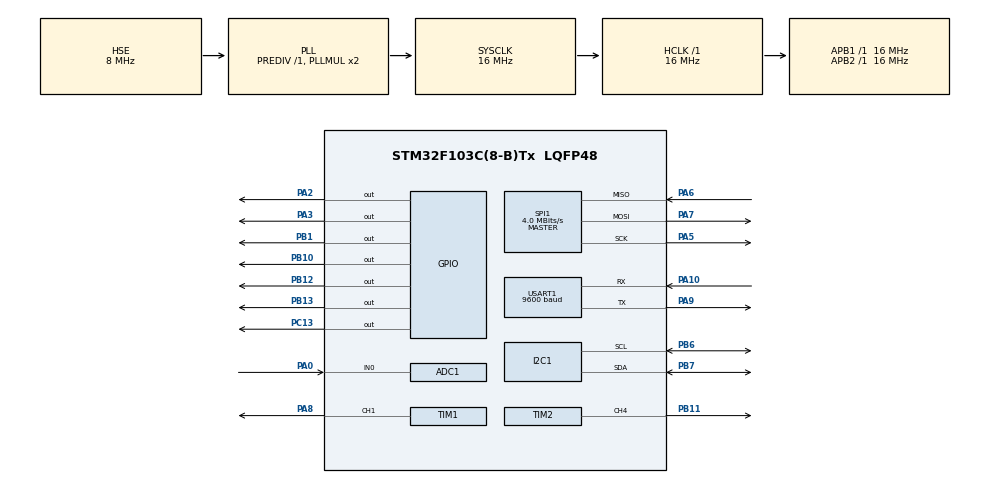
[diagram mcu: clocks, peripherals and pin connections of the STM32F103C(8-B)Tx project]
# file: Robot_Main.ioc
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ADC1.Channel-0\#ChannelRegularConversion=ADC_CHANNEL_0
ADC1.ContinuousConvMode=DISABLE
ADC1.NbrOfConversionFlag=1
ADC1.Rank-0\#ChannelRegularConversion=1
ADC1.SamplingTime-0\#ChannelRegularConversion=ADC_SAMPLETIME_7CYCLES_5
ADC1.master=1
Dma.ADC1.0.Direction=DMA_PERIPH_TO_MEMORY
Dma.ADC1.0.Instance=DMA1_Channel1
Dma.ADC1.0.MemDataAlignment=DMA_MDATAALIGN_HALFWORD
Dma.ADC1.0.MemInc=DMA_MINC_ENABLE
Dma.ADC1.0.Mode=DMA_CIRCULAR
Dma.ADC1.0.PeriphDataAlignment=DMA_PDATAALIGN_HALFWORD
Dma.ADC1.0.PeriphInc=DMA_PINC_DISABLE
Dma.ADC1.0.Priority=DMA_PRIORITY_LOW
Dma.Request0=ADC1
Mcu.Family=STM32F1
Mcu.Name=STM32F103C(8-B)Tx
Mcu.Package=LQFP48
NVIC.DMA1_Channel1_IRQn=true\:0\:0\:false\:false\:true\:false\:true\:true
NVIC.PriorityGroup=NVIC_PRIORITYGROUP_4
NVIC.USART1_IRQn=true\:0\:0\:false\:false\:true\:true\:true\:true
PA0-WKUP.Signal=ADCx_IN0
PA10.Mode=Asynchronous
PA10.Signal=USART1_RX
PA13.Mode=Serial_Wire
PA13.Signal=SYS_JTMS-SWDIO
PA14.Mode=Serial_Wire
PA14.Signal=SYS_JTCK-SWCLK
PA2.GPIO_Speed=GPIO_SPEED_FREQ_HIGH
PA2.Signal=GPIO_Output
PA3.GPIO_Speed=GPIO_SPEED_FREQ_HIGH
PA3.Signal=GPIO_Output
PA5.Mode=Full_Duplex_Master
PA5.Signal=SPI1_SCK
PA6.Mode=Full_Duplex_Master
PA6.Signal=SPI1_MISO
PA7.Mode=Full_Duplex_Master
PA7.Signal=SPI1_MOSI
PA8.Signal=S_TIM1_CH1
PA9.Mode=Asynchronous
PA9.Signal=USART1_TX
PB1.GPIO_Speed=GPIO_SPEED_FREQ_HIGH
PB1.Signal=GPIO_Output
PB10.GPIO_Speed=GPIO_SPEED_FREQ_HIGH
PB10.Signal=GPIO_Output
PB11.Signal=S_TIM2_CH4
PB12.GPIO_Speed=GPIO_SPEED_FREQ_HIGH
PB12.Signal=GPIO_Output
PB13.GPIO_Speed=GPIO_SPEED_FREQ_HIGH
PB13.Signal=GPIO_Output
PB6.Mode=I2C
PB6.Signal=I2C1_SCL
PB7.Mode=I2C
PB7.Signal=I2C1_SDA
PC13-TAMPER-RTC.GPIO_Speed=GPIO_SPEED_FREQ_HIGH
PC13-TAMPER-RTC.Signal=GPIO_Output
PD0-OSC_IN.Mode=HSE-External-Oscillator
PD0-OSC_IN.Signal=RCC_OSC_IN
PD1-OSC_OUT.Mode=HSE-External-Oscillator
PD1-OSC_OUT.Signal=RCC_OSC_OUT
ProjectManager.HeapSize=0x200
ProjectManager.StackSize=0x400
ProjectManager.TargetToolchain=STM32CubeIDE
RCC.AHBFreq_Value=16000000
RCC.APB1Freq_Value=16000000
RCC.APB1TimFreq_Value=16000000
RCC.APB2Freq_Value=16000000
RCC.APB2TimFreq_Value=16000000
RCC.HCLKFreq_Value=16000000
RCC.PLLSourceVirtual=RCC_PLLSOURCE_HSE
RCC.SYSCLKFreq_VALUE=16000000
RCC.SYSCLKSource=RCC_SYSCLKSOURCE_PLLCLK
RCC.USBFreq_Value=16000000
SH.ADCx_IN0.0=ADC1_IN0,IN0
SH.S_TIM1_CH1.0=TIM1_CH1,PWM Generation1 CH1
SH.S_TIM2_CH4.0=TIM2_CH4,PWM Generation4 CH4
SPI1.BaudRatePrescaler=SPI_BAUDRATEPRESCALER_4
SPI1.CalculateBaudRate=4.0 MBits/s
SPI1.Direction=SPI_DIRECTION_2LINES
SPI1.Mode=SPI_MODE_MASTER
SPI1.VirtualType=VM_MASTER
TIM1.Channel-PWM\ Generation1\ CH1=TIM_CHANNEL_1
TIM1.Period=99
TIM1.Prescaler=8000
TIM1.Pulse-PWM\ Generation1\ CH1=25
TIM2.Channel-PWM\ Generation4\ CH4=TIM_CHANNEL_4
TIM2.Period=99
TIM2.Prescaler=8000
TIM2.Pulse-PWM\ Generation4\ CH4=25
USART1.BaudRate=9600
USART1.VirtualMode=VM_ASYNC
board=custom

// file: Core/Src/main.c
/* USER CODE BEGIN Header */
/**
  ******************************************************************************
  * @file           : main.c
  * @brief          : Main program body
  ******************************************************************************
  * @attention
  *
  * Copyright (c) 2024 STMicroelectronics.
  * All rights reserved.
  *
  * This software is licensed under terms that can be found in the LICENSE file
  * in the root directory of this software component.
  * If no LICENSE file comes with this software, it is provided AS-IS.
  *
  ******************************************************************************
  */
/* USER CODE END Header */
#include "main.h"

/* USER CODE BEGIN Includes */
#include "stdint.h"
#include "String.h"
#include <stdio.h>
#include <math.h>

#include "NRF24L01.h"
#include "Motor_DC.h"
#include "CCS811.h"

#include "SSD1306.h"
#include "FONTS.h"
#include "LOGO.h"

#include "RingBuffer.h"
#include "GPS.h"

/* USER CODE END Includes */

ADC_HandleTypeDef hadc1;
DMA_HandleTypeDef hdma_adc1;

I2C_HandleTypeDef hi2c1;

SPI_HandleTypeDef hspi1;

TIM_HandleTypeDef htim1;
TIM_HandleTypeDef htim2;

UART_HandleTypeDef huart1;

void SystemClock_Config(void);
static void MX_GPIO_Init(void);
static void MX_DMA_Init(void);
static void MX_SPI1_Init(void);
static void MX_USART1_UART_Init(void);
static void MX_TIM1_Init(void);
static void MX_TIM2_Init(void);
static void MX_I2C1_Init(void);
static void MX_ADC1_Init(void);

/* USER CODE BEGIN 0 */
uint8_t RX_ADD[] = {0x01, 0xDD, 0xCC, 0xBB, 0xAA};
uint8_t RxData[32];
uint8_t Rx_Data_Mask[32];
uint8_t State_Stop[32]  = "Stop";
uint8_t State_Right[] = "Right";
uint8_t State_Left[]  = "Left";
uint8_t State_Up[]    = "Up";
uint8_t State_Down[]  = "Down";
uint8_t Data_UART[150];
char target1[80];
char target2[80];

int y=0, z=0;
uint32_t Data_H2S=0;
int dem_h2s=0;
uint16_t H2S_avr = 0;
unsigned int SUM_TVOC=0;
unsigned int SUM_CO2=0;
uint16_t h2s[3];
float CO2_avr=0, TVOC_avr= 0;

char GGA[100];
GPSSTRUCT gpsData;
int flagGPS = 0;
float convert_latitude = 0,convert_longitude =0 ;
char LCD_Buffer[40],LCD_Buffer1[40],LCD_Buffer2[40];

uint8_t data[1];

CCS811_Data Sensor_Val;
char co2_tr, co2_ch, co2_dv;
char apn[]="hieu.com";

Menu Titlelcd;

Menu Titlelcd = {
	"  SENSOR   VALUE",
	"CO2:",
	"TVOC:",
	"H2S:",
	"",
};
//float latitude_int=0, longitude_int=0;
//float latitude_float =0;
//float longitude_float = 0;

/* USER CODE END 0 */

int main(void)
{

  /* MCU Configuration--------------------------------------------------------*/

  /* Reset of all peripherals, Initializes the Flash interface and the Systick. */
  HAL_Init();

  /* Configure the system clock */
  SystemClock_Config();

  /* Initialize all configured peripherals */
  MX_GPIO_Init();
  MX_DMA_Init();
  MX_SPI1_Init();
  MX_USART1_UART_Init();
  MX_TIM1_Init();
  MX_TIM2_Init();
  MX_I2C1_Init();
  MX_ADC1_Init();
  /* USER CODE BEGIN 2 */
  HAL_TIM_PWM_Start(&htim1,TIM_CHANNEL_1);  //khoi tao xung PWM cho dong co
  HAL_TIM_PWM_Start(&htim2,TIM_CHANNEL_4);
  NRF24_Init();                             //khoi tao nRF
  NRF24_RxMode(RX_ADD, 10);                 // thiet lap che do nhan
  Ringbuf_init();
  CCS811_Init();                            // khoi tao cam bien
  ssd1306_Init();                           // khoi tao man hinh LCD
// Hien thi mot vai thong so
	HAL_Delay (2000);
	SSD1306_DrawBitmap(0,0,logo, 128, 64, 1);
	ssd1306_UpdateScreen();
	HAL_Delay (5000);
	ssd1306_Fill(Black);
	Menu_Display(Titlelcd);
	ssd1306_UpdateScreen();
    HAL_Delay(20);
  /* USER CODE END 2 */

  /* Infinite loop */
  while (1)
  {

    /* USER CODE BEGIN 3 */
	Ringbuf_init();
    // XỬ LÝ RF
	if(isDataAvailable(1)==1)
	{
		 NRF_Receive(RxData);
		 if(Rx_Data_Mask[0]!=RxData[0])
				{

					Rx_Data_Mask[0]=RxData[0];

					switch(Rx_Data_Mask[0])
					{
					  case 'R': //HAL_UART_Transmit(&huart1,State_Right,strlen((char*)State_Right),100);
						  	  HAL_GPIO_TogglePin(GPIOC, GPIO_PIN_13);
						  	  ROBOT_TurnRight();
						  break;
					  case 'L': //HAL_UART_Transmit(&huart1,State_Left,strlen((char*)State_Left),100);
								HAL_GPIO_TogglePin(GPIOC, GPIO_PIN_13);
								ROBOT_TurnLeft(); break;
					  case 'U': HAL_GPIO_TogglePin(GPIOC, GPIO_PIN_13);//HAL_UART_Transmit(&huart1,State_Up,strlen((char*)State_Up),100);
								ROBOT_Forward();break;
					  case 'D': HAL_GPIO_TogglePin(GPIOC, GPIO_PIN_13);////HAL_UART_Transmit(&huart1,State_Down,strlen((char*)State_Down),100);
								ROBOT_Backward();break;
					  case 'S': //HAL_UART_Transmit(&huart1,State_Stop,strlen((char*)State_Stop),100);
								ROBOT_Stop();
								 break;
					  //default:   HAL_GPIO_TogglePin(GPIOC, GPIO_PIN_13);
								// ROBOT_Stop();break;
					}
				}

	}
	// XỬ LÝ GPS
	 if(Wait_for("GGA")==1)
	 {
		 Copy_upto("*",GGA);
		 if(decodeGGA(GGA, &gpsData.ggastruct)==0)
		 {
			flagGPS = 1;
		 }
		 else
		 {
			 flagGPS=0;
		 }
	 }

	  if(CCS811_checkDataReady()==1)   // Kiem tra cam bien sang sang khong
	  {
		  unsigned int x = CCS811_getCO2PPM();    // Doc gia trị cam bien
		  unsigned int z = CCS811_getTVOCPPB();
		  if(y<8)
		  {
			  Sensor_Val.CO2  += x;
			  Sensor_Val.TVOC += z;
			  y++;
		  }
		  else
		  {

			  SUM_CO2  = Sensor_Val.CO2/8;
			  SUM_TVOC = Sensor_Val.TVOC/8;

			  Sensor_Val.CO2  = 0;
			  Sensor_Val.TVOC = 0;
			  y=0;
		  }
	  }
	  CCS811_writeBaseLine(0x447B);

	//DO CAM BIEN H2S
	HAL_ADC_Start_DMA(&hadc1, (uint32_t*)h2s, 1);
	HAL_Delay(2);
	HAL_ADC_Stop_DMA(&hadc1);
	uint16_t h2s_tam = h2s[0];
	if(dem_h2s<8)
	{
	Data_H2S +=h2s_tam;
	dem_h2s++;
	}
	else
	{
	H2S_avr  = Data_H2S/8;
	Data_H2S  = 0;
	dem_h2s=0;
	}

	// TRUYEN DU LIEU CHO ESP32
	sprintf(Data_UART,"{\"C\":%d,\"T\":%d,\"H\":%d,\"N\":%.6f,\"E\":%.6f}\n",SUM_CO2,SUM_TVOC,H2S_avr,gpsData.ggastruct.lcation.latitude,gpsData.ggastruct.lcation.longitude);
	HAL_UART_Transmit(&huart1, Data_UART, strlen((char *)Data_UART), 1000);

	// XUAT MAN HINH HIEN THI LCD

	if(flagGPS==1)
	 {
		sprintf(LCD_Buffer1,"%.4f%c,%.4f%c  ",gpsData.ggastruct.lcation.latitude,gpsData.ggastruct.lcation.NS,gpsData.ggastruct.lcation.longitude,gpsData.ggastruct.lcation.EW);
		//sprintf(LCD_Buffer1,"%.4fN,%.4fE  ",convert_latitude,convert_longitude);
		ssd1306_SetCursor(0, 48);
		ssd1306_WriteString(LCD_Buffer1, Font_7x10, White);
		//ssd1306_UpdateScreen();
	 }
	 else
	 {
		 ssd1306_SetCursor(0, 48);
		 ssd1306_WriteString("    GPS  Error      ",Font_7x10 , White);
	 }
	// Hien thi thong so ra LCD
	sprintf(LCD_Buffer2, "%d  ", H2S_avr);
	ssd1306_SetCursor(55, 36);
	ssd1306_WriteString(LCD_Buffer2, Font_7x10, White);
	//
	sprintf(target1, "%d%s  ", SUM_CO2,"ppm  "); //Sum_CO2
	sprintf(target2, "%d%s    ", SUM_TVOC,"ppb  ");
	ssd1306_SetCursor(55, 12);
	ssd1306_WriteString(target1,Font_7x10 , White);
	ssd1306_SetCursor(55, 24);
	ssd1306_WriteString(target2,Font_7x10 , White);
	ssd1306_UpdateScreen();
  }
  /* USER CODE END 3 */
}

void SystemClock_Config(void)
{
  RCC_OscInitTypeDef RCC_OscInitStruct = {0};
  RCC_ClkInitTypeDef RCC_ClkInitStruct = {0};
  RCC_PeriphCLKInitTypeDef PeriphClkInit = {0};

  /** Initializes the RCC Oscillators according to the specified parameters
  * in the RCC_OscInitTypeDef structure.
  */
  RCC_OscInitStruct.OscillatorType = RCC_OSCILLATORTYPE_HSE;
  RCC_OscInitStruct.HSEState = RCC_HSE_ON;
  RCC_OscInitStruct.HSEPredivValue = RCC_HSE_PREDIV_DIV1;
  RCC_OscInitStruct.HSIState = RCC_HSI_ON;
  RCC_OscInitStruct.PLL.PLLState = RCC_PLL_ON;
  RCC_OscInitStruct.PLL.PLLSource = RCC_PLLSOURCE_HSE;
  RCC_OscInitStruct.PLL.PLLMUL = RCC_PLL_MUL2;
  if (HAL_RCC_OscConfig(&RCC_OscInitStruct) != HAL_OK)
  {
    Error_Handler();
  }

  /** Initializes the CPU, AHB and APB buses clocks
  */
  RCC_ClkInitStruct.ClockType = RCC_CLOCKTYPE_HCLK|RCC_CLOCKTYPE_SYSCLK
                              |RCC_CLOCKTYPE_PCLK1|RCC_CLOCKTYPE_PCLK2;
  RCC_ClkInitStruct.SYSCLKSource = RCC_SYSCLKSOURCE_PLLCLK;
  RCC_ClkInitStruct.AHBCLKDivider = RCC_SYSCLK_DIV1;
  RCC_ClkInitStruct.APB1CLKDivider = RCC_HCLK_DIV1;
  RCC_ClkInitStruct.APB2CLKDivider = RCC_HCLK_DIV1;

  if (HAL_RCC_ClockConfig(&RCC_ClkInitStruct, FLASH_LATENCY_0) != HAL_OK)
  {
    Error_Handler();
  }
  PeriphClkInit.PeriphClockSelection = RCC_PERIPHCLK_ADC;
  PeriphClkInit.AdcClockSelection = RCC_ADCPCLK2_DIV2;
  if (HAL_RCCEx_PeriphCLKConfig(&PeriphClkInit) != HAL_OK)
  {
    Error_Handler();
  }
}

static void MX_ADC1_Init(void)
{

  ADC_ChannelConfTypeDef sConfig = {0};

  /** Common config
  */
  hadc1.Instance = ADC1;
  hadc1.Init.ScanConvMode = ADC_SCAN_DISABLE;
  hadc1.Init.ContinuousConvMode = DISABLE;
  hadc1.Init.DiscontinuousConvMode = DISABLE;
  hadc1.Init.ExternalTrigConv = ADC_SOFTWARE_START;
  hadc1.Init.DataAlign = ADC_DATAALIGN_RIGHT;
  hadc1.Init.NbrOfConversion = 1;
  if (HAL_ADC_Init(&hadc1) != HAL_OK)
  {
    Error_Handler();
  }

  /** Configure Regular Channel
  */
  sConfig.Channel = ADC_CHANNEL_0;
  sConfig.Rank = ADC_REGULAR_RANK_1;
  sConfig.SamplingTime = ADC_SAMPLETIME_7CYCLES_5;
  if (HAL_ADC_ConfigChannel(&hadc1, &sConfig) != HAL_OK)
  {
    Error_Handler();
  }

}

static void MX_I2C1_Init(void)
{

  hi2c1.Instance = I2C1;
  hi2c1.Init.ClockSpeed = 100000;
  hi2c1.Init.DutyCycle = I2C_DUTYCYCLE_2;
  hi2c1.Init.OwnAddress1 = 0;
  hi2c1.Init.AddressingMode = I2C_ADDRESSINGMODE_7BIT;
  hi2c1.Init.DualAddressMode = I2C_DUALADDRESS_DISABLE;
  hi2c1.Init.OwnAddress2 = 0;
  hi2c1.Init.GeneralCallMode = I2C_GENERALCALL_DISABLE;
  hi2c1.Init.NoStretchMode = I2C_NOSTRETCH_DISABLE;
  if (HAL_I2C_Init(&hi2c1) != HAL_OK)
  {
    Error_Handler();
  }

}

static void MX_SPI1_Init(void)
{

  /* SPI1 parameter configuration*/
  hspi1.Instance = SPI1;
  hspi1.Init.Mode = SPI_MODE_MASTER;
  hspi1.Init.Direction = SPI_DIRECTION_2LINES;
  hspi1.Init.DataSize = SPI_DATASIZE_8BIT;
  hspi1.Init.CLKPolarity = SPI_POLARITY_LOW;
  hspi1.Init.CLKPhase = SPI_PHASE_1EDGE;
  hspi1.Init.NSS = SPI_NSS_SOFT;
  hspi1.Init.BaudRatePrescaler = SPI_BAUDRATEPRESCALER_4;
  hspi1.Init.FirstBit = SPI_FIRSTBIT_MSB;
  hspi1.Init.TIMode = SPI_TIMODE_DISABLE;
  hspi1.Init.CRCCalculation = SPI_CRCCALCULATION_DISABLE;
  hspi1.Init.CRCPolynomial = 10;
  if (HAL_SPI_Init(&hspi1) != HAL_OK)
  {
    Error_Handler();
  }

}

static void MX_TIM1_Init(void)
{

  TIM_MasterConfigTypeDef sMasterConfig = {0};
  TIM_OC_InitTypeDef sConfigOC = {0};
  TIM_BreakDeadTimeConfigTypeDef sBreakDeadTimeConfig = {0};

  htim1.Instance = TIM1;
  htim1.Init.Prescaler = 8000;
  htim1.Init.CounterMode = TIM_COUNTERMODE_UP;
  htim1.Init.Period = 99;
  htim1.Init.ClockDivision = TIM_CLOCKDIVISION_DIV1;
  htim1.Init.RepetitionCounter = 0;
  htim1.Init.AutoReloadPreload = TIM_AUTORELOAD_PRELOAD_DISABLE;
  if (HAL_TIM_PWM_Init(&htim1) != HAL_OK)
  {
    Error_Handler();
  }
  sMasterConfig.MasterOutputTrigger = TIM_TRGO_RESET;
  sMasterConfig.MasterSlaveMode = TIM_MASTERSLAVEMODE_DISABLE;
  if (HAL_TIMEx_MasterConfigSynchronization(&htim1, &sMasterConfig) != HAL_OK)
  {
    Error_Handler();
  }
  sConfigOC.OCMode = TIM_OCMODE_PWM1;
  sConfigOC.Pulse = 25;
  sConfigOC.OCPolarity = TIM_OCPOLARITY_HIGH;
  sConfigOC.OCNPolarity = TIM_OCNPOLARITY_HIGH;
  sConfigOC.OCFastMode = TIM_OCFAST_DISABLE;
  sConfigOC.OCIdleState = TIM_OCIDLESTATE_RESET;
  sConfigOC.OCNIdleState = TIM_OCNIDLESTATE_RESET;
  if (HAL_TIM_PWM_ConfigChannel(&htim1, &sConfigOC, TIM_CHANNEL_1) != HAL_OK)
  {
    Error_Handler();
  }
  sBreakDeadTimeConfig.OffStateRunMode = TIM_OSSR_DISABLE;
  sBreakDeadTimeConfig.OffStateIDLEMode = TIM_OSSI_DISABLE;
  sBreakDeadTimeConfig.LockLevel = TIM_LOCKLEVEL_OFF;
  sBreakDeadTimeConfig.DeadTime = 0;
  sBreakDeadTimeConfig.BreakState = TIM_BREAK_DISABLE;
  sBreakDeadTimeConfig.BreakPolarity = TIM_BREAKPOLARITY_HIGH;
  sBreakDeadTimeConfig.AutomaticOutput = TIM_AUTOMATICOUTPUT_DISABLE;
  if (HAL_TIMEx_ConfigBreakDeadTime(&htim1, &sBreakDeadTimeConfig) != HAL_OK)
  {
    Error_Handler();
  }
  HAL_TIM_MspPostInit(&htim1);

}

static void MX_TIM2_Init(void)
{

  TIM_MasterConfigTypeDef sMasterConfig = {0};
  TIM_OC_InitTypeDef sConfigOC = {0};

  htim2.Instance = TIM2;
  htim2.Init.Prescaler = 8000;
  htim2.Init.CounterMode = TIM_COUNTERMODE_UP;
  htim2.Init.Period = 99;
  htim2.Init.ClockDivision = TIM_CLOCKDIVISION_DIV1;
  htim2.Init.AutoReloadPreload = TIM_AUTORELOAD_PRELOAD_DISABLE;
  if (HAL_TIM_PWM_Init(&htim2) != HAL_OK)
  {
    Error_Handler();
  }
  sMasterConfig.MasterOutputTrigger = TIM_TRGO_RESET;
  sMasterConfig.MasterSlaveMode = TIM_MASTERSLAVEMODE_DISABLE;
  if (HAL_TIMEx_MasterConfigSynchronization(&htim2, &sMasterConfig) != HAL_OK)
  {
    Error_Handler();
  }
  sConfigOC.OCMode = TIM_OCMODE_PWM1;
  sConfigOC.Pulse = 25;
  sConfigOC.OCPolarity = TIM_OCPOLARITY_HIGH;
  sConfigOC.OCFastMode = TIM_OCFAST_DISABLE;
  if (HAL_TIM_PWM_ConfigChannel(&htim2, &sConfigOC, TIM_CHANNEL_4) != HAL_OK)
  {
    Error_Handler();
  }
  HAL_TIM_MspPostInit(&htim2);

}

static void MX_USART1_UART_Init(void)
{

  huart1.Instance = USART1;
  huart1.Init.BaudRate = 9600;
  huart1.Init.WordLength = UART_WORDLENGTH_8B;
  huart1.Init.StopBits = UART_STOPBITS_1;
  huart1.Init.Parity = UART_PARITY_NONE;
  huart1.Init.Mode = UART_MODE_TX_RX;
  huart1.Init.HwFlowCtl = UART_HWCONTROL_NONE;
  huart1.Init.OverSampling = UART_OVERSAMPLING_16;
  if (HAL_UART_Init(&huart1) != HAL_OK)
  {
    Error_Handler();
  }

}

static void MX_DMA_Init(void)
{

  /* DMA controller clock enable */
  __HAL_RCC_DMA1_CLK_ENABLE();

  /* DMA interrupt init */
  /* DMA1_Channel1_IRQn interrupt configuration */
  HAL_NVIC_SetPriority(DMA1_Channel1_IRQn, 0, 0);
  HAL_NVIC_EnableIRQ(DMA1_Channel1_IRQn);

}

static void MX_GPIO_Init(void)
{
  GPIO_InitTypeDef GPIO_InitStruct = {0};

  /* GPIO Ports Clock Enable */
  __HAL_RCC_GPIOC_CLK_ENABLE();
  __HAL_RCC_GPIOD_CLK_ENABLE();
  __HAL_RCC_GPIOA_CLK_ENABLE();
  __HAL_RCC_GPIOB_CLK_ENABLE();

  /*Configure GPIO pin Output Level */
  HAL_GPIO_WritePin(GPIOC, GPIO_PIN_13, GPIO_PIN_RESET);

  /*Configure GPIO pin Output Level */
  HAL_GPIO_WritePin(GPIOA, GPIO_PIN_2|GPIO_PIN_3, GPIO_PIN_RESET);

  /*Configure GPIO pin Output Level */
  HAL_GPIO_WritePin(GPIOB, GPIO_PIN_1|GPIO_PIN_10|GPIO_PIN_12|GPIO_PIN_13, GPIO_PIN_RESET);

  /*Configure GPIO pin : PC13 */
  GPIO_InitStruct.Pin = GPIO_PIN_13;
  GPIO_InitStruct.Mode = GPIO_MODE_OUTPUT_PP;
  GPIO_InitStruct.Pull = GPIO_NOPULL;
  GPIO_InitStruct.Speed = GPIO_SPEED_FREQ_HIGH;
  HAL_GPIO_Init(GPIOC, &GPIO_InitStruct);

  /*Configure GPIO pins : PA2 PA3 */
  GPIO_InitStruct.Pin = GPIO_PIN_2|GPIO_PIN_3;
  GPIO_InitStruct.Mode = GPIO_MODE_OUTPUT_PP;
  GPIO_InitStruct.Pull = GPIO_NOPULL;
  GPIO_InitStruct.Speed = GPIO_SPEED_FREQ_HIGH;
  HAL_GPIO_Init(GPIOA, &GPIO_InitStruct);

  /*Configure GPIO pins : PB1 PB10 PB12 PB13 */
  GPIO_InitStruct.Pin = GPIO_PIN_1|GPIO_PIN_10|GPIO_PIN_12|GPIO_PIN_13;
  GPIO_InitStruct.Mode = GPIO_MODE_OUTPUT_PP;
  GPIO_InitStruct.Pull = GPIO_NOPULL;
  GPIO_InitStruct.Speed = GPIO_SPEED_FREQ_HIGH;
  HAL_GPIO_Init(GPIOB, &GPIO_InitStruct);

}

void Error_Handler(void)
{
  __disable_irq();
  while (1)
  {
  }
}
